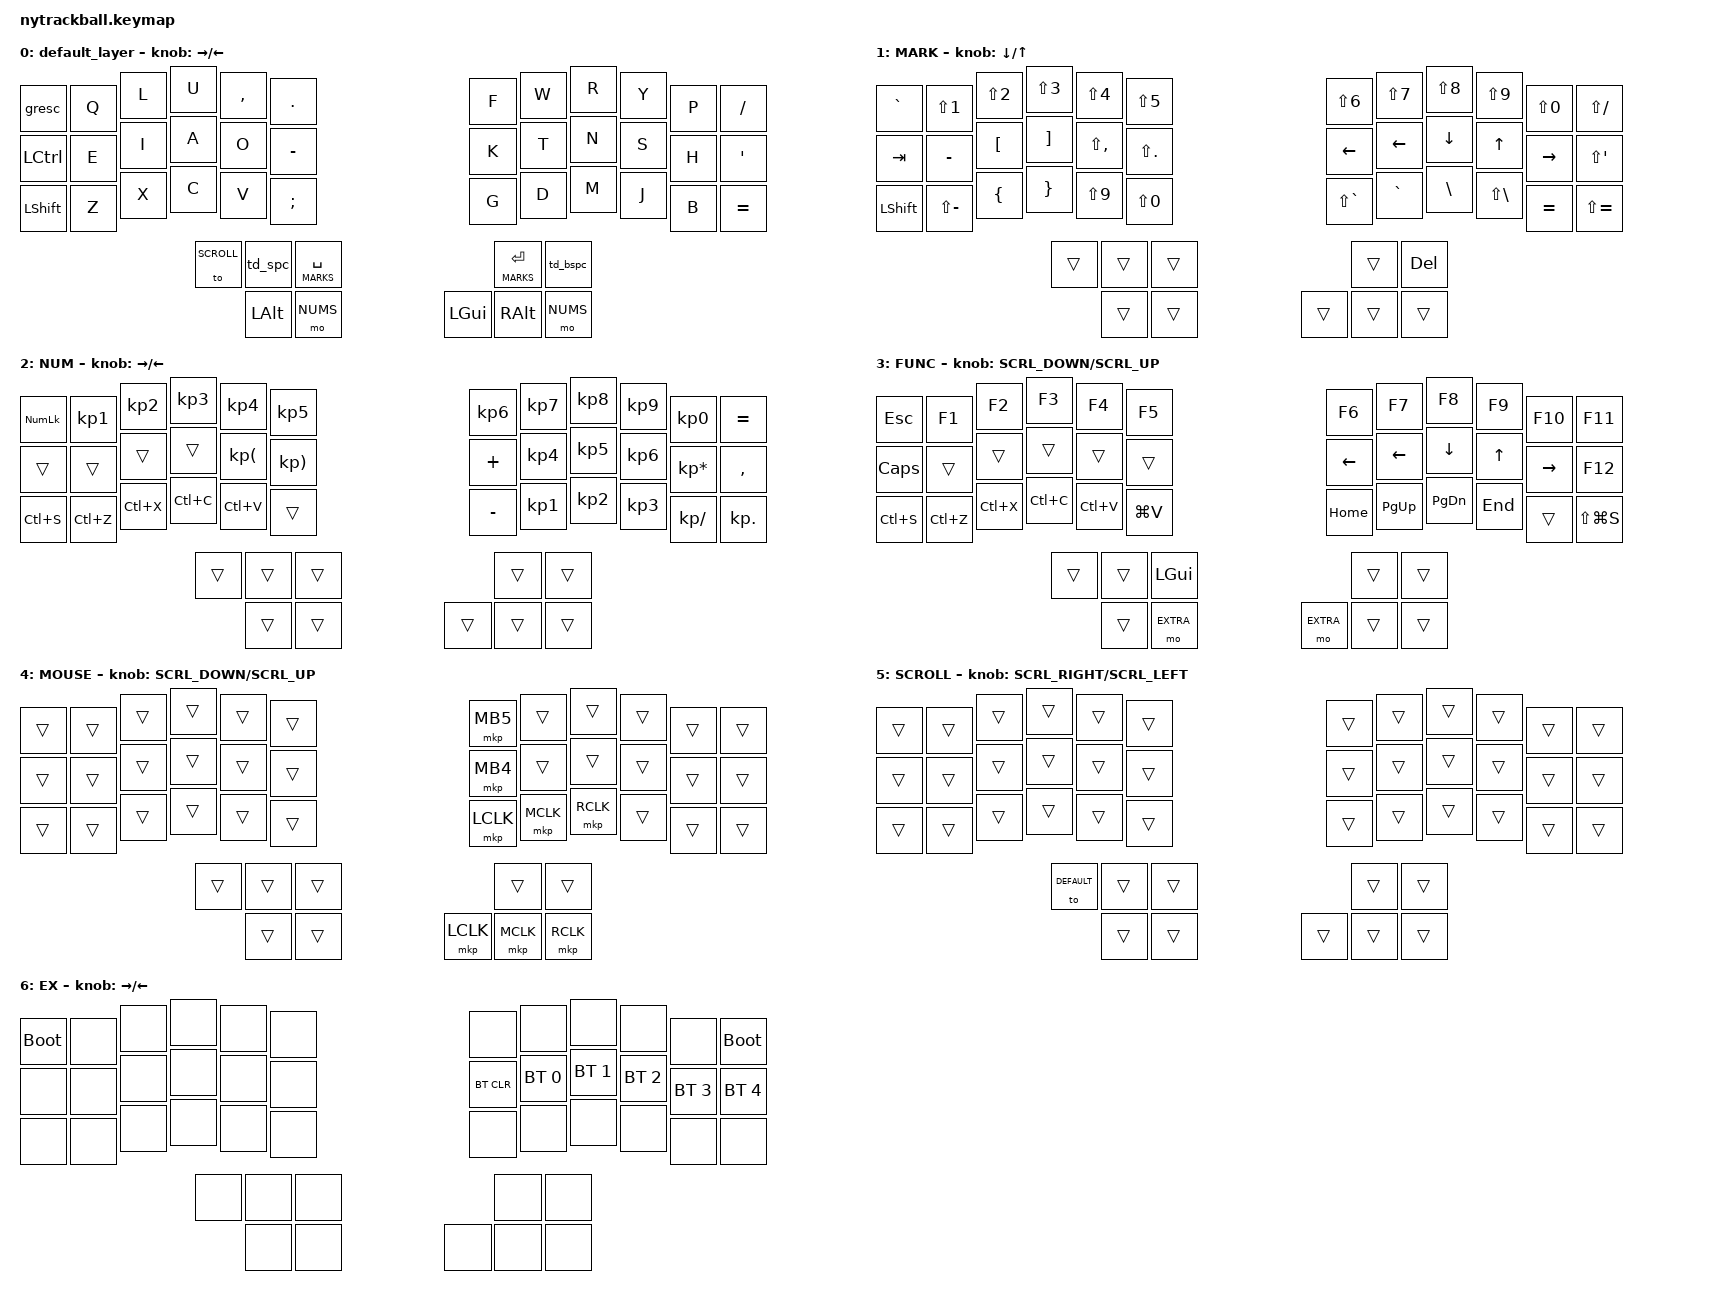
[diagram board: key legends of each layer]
/*
 * Copyright (c) 2020 The ZMK Contributors
 *
 * SPDX-License-Identifier: MIT
 */

#include <behaviors.dtsi>
#include <dt-bindings/zmk/bt.h>
#include <dt-bindings/zmk/keys.h>
#include <input/processors.dtsi>

#define ZMK_POINTING_DEFAULT_SCRL_VAL 120 
#include <dt-bindings/zmk/pointing.h>

#define DEFAULT 0
#define MARKS   1
#define NUMS    2
#define FUNCS   3
#define MOUSE_   4
#define SCROLL_  5
#define EXTRA    6


&trackball {
    // automouse_layerを使用せずinput processorsで実現する方針に変更
    //automouse-layer = <MOUSE_>;
    scroll-layers = <SCROLL_>;

    // arrows {
    //     layers = <3>;
    //     bindings =
    //         <&kp RIGHT_ARROW>,
    //         <&kp LEFT_ARROW>,
    //         <&kp UP_ARROW>,
    //         <&kp DOWN_ARROW>;

    //     tick = <10>;
    //     wait-ms = <5>;
    //     tap-ms = <5>;
    // };
};

// クリック時に10秒間AMLを延長
&mkp_input_listener {
    input-processors = <&zip_temp_layer MOUSE_ 10000>;
};

// キー入力から200ms間はAMLを抑制(AML誤発動防止)
&zip_temp_layer {
    require-prior-idle-ms = <200>;
};

/ {
    combos {
        compatible = "zmk,combos";

        combo_shift_R {
            bindings = <&kp RSHFT>;
            key-positions = <39 40>;
        };
        combo_shift_L {
            bindings = <&kp LSHFT>;
            key-positions = <37 38>;
        };

        combo_tab {
            bindings = <&kp TAB>;
            key-positions = <12 13>;
        };
    };

    macros {
        to_layer_0: to_layer_0 {
            compatible = "zmk,behavior-macro-one-param";
            #binding-cells = <1>;
            bindings = <&to 0 &macro_param_1to1 &kp MACRO_PLACEHOLDER>;
            label = "TO_LAYER_0";
        };
    };

    behaviors {
        td_bspc: tap_dance_0 {
            compatible = "zmk,behavior-tap-dance";
            #binding-cells = <0>;
            tapping-term-ms = <180>;
            bindings = <&lt FUNCS BSPC>, <&kp BSPC>;
        };

        td_spc: tap_dance_1 {
            compatible = "zmk,behavior-tap-dance";
            #binding-cells = <0>;
            tapping-term-ms = <180>;
            bindings = <&lt FUNCS SPACE>, <&kp SPACE>;
        };

        mouse_scroll: mouse_wheel_scroll {
            compatible = "zmk,behavior-sensor-rotate-var";
            #sensor-binding-cells = <2>;
            bindings = <&msc>, <&msc>;
            tap-ms = <10>;
        };
    };

    keymap {
        compatible = "zmk,keymap";

        default_layer {
            // -----------------------------------------------------------------------------------------
            // |  ESC |  Q  |  L  |  U  |  ,  |  .  |   |  F  |  W   |  R  |  Y  |  P  |  /   |
            // | CTRL |  E  |  I  |  A  |  O  |  -  |   |  K  |  T   |  N  |  S  |  H  |  '   |
            // | SHFT |  Z  |  X  |  C  |  V  |  B  |   |  G  |  D   |  M  |  J  |  B  |  =   |
            //        | SCRL| SPC(FUNK) | SPC(MARK) |   | ENT(MARK) | BKSP(NUM)  |
            //              |  LALT     | NUMS      |   | GUI       | RALT       | NUMS|
            bindings = <
        &gresc     &kp Q  &kp L  &kp U        &kp COMMA  &kp PERIOD       &kp F    &kp W  &kp R     &kp Y  &kp P  &kp SLASH
        &kp LCTRL  &kp E  &kp I  &kp A        &kp O      &kp MINUS        &kp K    &kp T  &kp N     &kp S  &kp H  &kp SQT
        &kp LSHFT  &kp Z  &kp X  &kp C        &kp V      &kp SEMICOLON    &kp G    &kp D  &kp M     &kp J  &kp B  &kp EQUAL
                                 &to SCROLL_  &td_spc  &lt MARKS SPACE    &lt MARKS RET  &td_bspc
                                              &kp LALT &mo NUMS           &kp LGUI       &kp RALT   &mo NUMS
            >;
            sensor-bindings = <&inc_dec_kp RIGHT LEFT>;
        };

        MARK {
            // -----------------------------------------------------------------------------------------
            // |  ~   |  !  |  @  |  #  |  $  |  %  |   |  ^  |  &  |  *  |  (        | )   | ?  |
            // | TAB  |  -  |  {  |  }  |  <  | >   |   | LFT | LFT | DWN |  UP       | RGT |  " |
            // |      |  _  |  [  |  ]  |  (  | )   |   |  `  |  ~  |  ¥  |  Lsft(¥)  |  =  |  + |
            //                    | --- |---- | ----|   | ---- | DELETE  |
            //                          |---- | ----|   | ---- |  -----  | ---- |

            bindings = <
        &kp GRAVE   &kp LS(N1)    &kp LS(N2)  &kp LS(N3)  &kp LS(N4)      &kp LS(N5)          &kp LS(N6)    &kp LS(N7)  &kp LS(N8)   &kp LS(N9)   &kp LS(N0)   &kp LS(SLASH)
        &kp TAB     &kp MINUS     &kp LBKT    &kp RBKT    &kp LS(COMMA)   &kp LS(PERIOD)      &kp LEFT      &kp LEFT    &kp DOWN     &kp UP       &kp RIGHT    &kp LS(SQT)
        &kp LSHFT   &kp LS(MINUS) &kp LBRC    &kp RBRC    &kp LS(N9)      &kp LS(N0)          &kp LS(GRAVE) &kp GRAVE   &kp BSLH     &kp LS(BSLH) &kp EQUAL    &kp LS(EQUAL)
                                              &trans      &trans          &trans              &trans        &kp DELETE    
                                                          &trans          &trans              &trans        &trans      &trans
                >;
                sensor-bindings = <&inc_dec_kp DOWN UP>;
        };

        NUM {
            // -----------------------------------------------------------------------------------------
            // |  NUM |  1  |  2  |  3  |  4  |  5  |   |  6  |  7  |  8  |  9  |  0  |  =   |
            // | ---- | --- | --- | --- |  (  |  )  |   |  +  |  4  |  5  |  6  |  *  |  ,   |
            // | Save | Undo| Cut | Copy|Paste|Paste|   |  -  |  1  |  2  |  3  |  /  |  .   |
            //                    | --- |---- | ----|   | --- | --- |
            //                          |---- | ----|   | --- | --- | --- |

            bindings = <
        &kp KP_NUM &kp KP_N1    &kp KP_N2   &kp KP_N3  &kp KP_N4   &kp KP_N5     &kp KP_N6  &kp KP_N7  &kp KP_N8  &kp KP_N9   &kp KP_N0       &kp EQUAL
        &trans     &trans       &trans      &trans     &kp KP_LPAR &kp KP_RPAR   &kp PLUS   &kp KP_N4  &kp KP_N5  &kp KP_N6   &kp KP_ASTERISK &kp COMMA
        &kp LC(S)  &kp LC(Z)    &kp LC(X)   &kp LC(C)  &kp LC(V)   &trans        &kp MINUS  &kp KP_N1  &kp KP_N2  &kp KP_N3   &kp KP_SLASH    &kp KP_DOT
                                            &trans     &trans      &trans        &trans     &trans  
                                                       &trans      &trans        &trans     &trans  &trans
            >;
            sensor-bindings = <&inc_dec_kp RIGHT LEFT>;
        };

        FUNC {     
            // -----------------------------------------------------------------------------------------
            // | ESC   | F1   |  F2  |  F3  |  F4   |  F5   |     |  F6 |  F7 |  F8 |  F9 | F10  | F11        |
            // | CAPS  | ---  | ---- | ---- | ----- | ----  |     | LEFT| LEFT| DOWN| UP  |RIGHT | F12        |
            // | SAVE  | UNDO | CUT  | COPY | PASTE | PASTE |     | HOME| PGUP| PGDN| END | ---- | PrintScreen|
            //                       | ---- | ----- | ----- |     | -------- | ----  | 
            //                              | ----- |Mo(BOOT)|    | Mo(BOOT) | ----- | ----- |
            bindings = <
        &kp ESC   &kp F1     &kp F2    &kp F3    &kp F4    &kp F5      &kp F6     &kp F7     &kp F8     &kp F9   &kp F10    &kp F11
        &kp CAPS  &trans     &trans    &trans    &trans    &trans      &kp LEFT   &kp LEFT   &kp DOWN   &kp UP   &kp RIGHT  &kp F12
        &kp LC(S) &kp LC(Z)  &kp LC(X) &kp LC(C) &kp LC(V) &kp LG(V)   &kp HOME   &kp PG_UP  &kp PG_DN  &kp END  &trans     &kp LS(LG(S))
                                       &trans    &trans    &kp LGUI    &trans     &trans
                                                 &trans    &mo EXTRA   &mo EXTRA   &trans    &trans
            >;
            sensor-bindings = <&mouse_scroll SCRL_DOWN SCRL_UP>;
        };

        MOUSE {     
            // -----------------------------------------------------------------------------------------
            // | --- | --- | --- | --- | --- | --- |   | --- | --- | --- | --- | --- | --- |
            // | --- | --- | --- | --- | --- | --- |   | --- | --- | --- | --- | --- | --- |
            // | --- | --- | --- | --- | --- | --- |   | --- | --- | --- | --- | --- | --- |
            //                   | --- | --- | --- |   | --- | --- |
            //                         | --- | --- |   | --- | --- | --- |
            bindings = <
        &trans  &trans  &trans  &trans  &trans  &trans     &mkp MB5  &trans    &trans    &trans   &trans  &trans
        &trans  &trans  &trans  &trans  &trans  &trans     &mkp MB4  &trans    &trans    &trans   &trans  &trans
        &trans  &trans  &trans  &trans  &trans  &trans     &mkp LCLK &mkp MCLK &mkp RCLK &trans   &trans  &trans
                                &trans  &trans  &trans     &trans    &trans 
                                        &trans  &trans     &mkp LCLK &mkp MCLK &mkp RCLK
            >;
            sensor-bindings = <&mouse_scroll SCRL_DOWN SCRL_UP>;
        };

        SCROLL {     
            // -----------------------------------------------------------------------------------------
            // | --- | --- | --- | --- | --- | --- |   | --- | --- | --- | --- | --- | --- |
            // | --- | --- | --- | --- | --- | --- |   | --- | --- | --- | --- | --- | --- |
            // | --- | --- | --- | --- | --- | --- |   | --- | --- | --- | --- | --- | --- |
            //                  |TO DEF| --- | --- |   | --- | --- |
            //                         | --- | --- |   | --- | --- | --- |
            bindings = <
        &trans  &trans  &trans  &trans       &trans  &trans     &trans  &trans  &trans  &trans  &trans  &trans
        &trans  &trans  &trans  &trans       &trans  &trans     &trans  &trans  &trans  &trans  &trans  &trans
        &trans  &trans  &trans  &trans       &trans  &trans     &trans  &trans  &trans  &trans  &trans  &trans
                                &to DEFAULT  &trans  &trans     &trans  &trans 
                                             &trans  &trans     &trans  &trans  &trans
            >;
            sensor-bindings = <&mouse_scroll SCRL_RIGHT SCRL_LEFT>;
        };

        EX {     
            // -----------------------------------------------------------------------------------------
            // | BOOT |    |     |     |       |     |      |     |     |     |     |     | BOOT |
            // |      |    |     |     |       |     |      |BTCLR| BT0 | BT1 | BT2 | BT3 | BT4  |
            // |      |    |     |     |       |     |      |     |     |     |     |     |      |
            //                   |     |       |     |      |     |     | 
            //                         |       |     |      |     |     |
            bindings = <
        &bootloader &none  &none  &none  &none  &none        &none       &none         &none         &none         &none         &bootloader
        &none       &none  &none  &none  &none  &none        &bt BT_CLR  &bt BT_SEL 0  &bt BT_SEL 1  &bt BT_SEL 2  &bt BT_SEL 3  &bt BT_SEL 4
        &none       &none  &none  &none  &none  &none        &none       &none         &none         &none         &none         &none
                                  &none  &none  &none        &none       &none
                                         &none  &none        &none       &none         &none
            >;
            sensor-bindings = <&inc_dec_kp RIGHT LEFT>;
        };
    };
};
